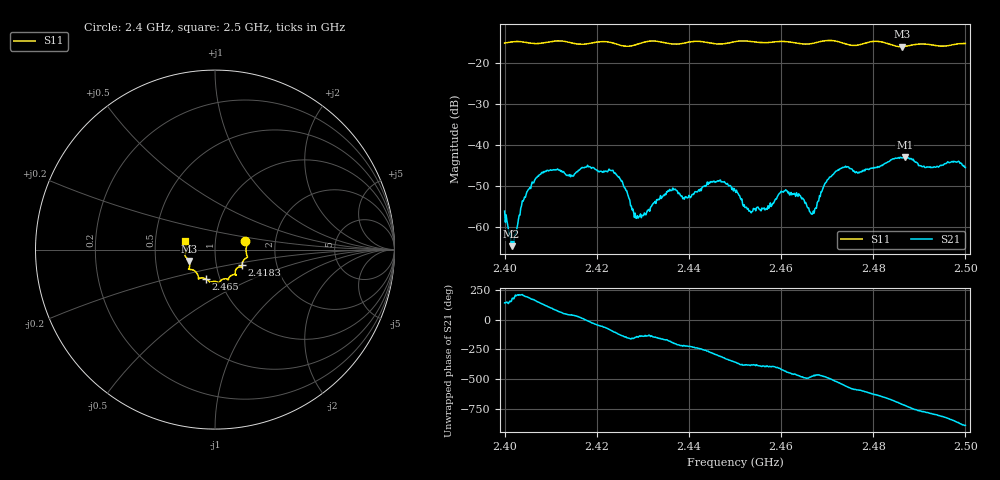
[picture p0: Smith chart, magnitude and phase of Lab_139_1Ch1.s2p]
# Hz S RI R 50
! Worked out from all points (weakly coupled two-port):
!   601 points, 2.4 GHz to 2.5 GHz, reference 50 ohm
!   highest |S21| = -42.90 dB at 2.4868 GHz (marker M1); lowest = -64.6 dB at 2.4015 GHz (marker M2)
!   lowest |S11| = -16.0 dB at 2.4862 GHz (marker M3), VSWR 1.38, Z = 37.1 - j4.83 ohm
!   |S11| at or under -10 dB: start of sweep to end of sweep
!   S12 and S22 are empty: the file has one direction only
!   S11 on the Smith chart (normalised r, x): 2.4 GHz: 1.40, +0.13; 2.4183 GHz: 1.33, -0.24; 2.465 GHz: 0.86, -0.29; 2.5 GHz: 0.71, +0.07
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2.4e9  0.169 0.0459  -0.0012 0.00101  0 0  0 0
2.4015e9  0.177 0.0381  -0.000535 0.000245  0 0  0 0
2.404333e9  0.178 0.0245  -0.00224 -0.000655  0 0  0 0
2.407167e9  0.1729 -0.00552  -0.00357 0.00219  0 0  0 0
2.416667e9  0.155 -0.0682  0.00513 0.00122  0 0  0 0
2.418333e9  0.1498 -0.0868  0.00528 -0.00148  0 0  0 0
2.4245e9  0.1383 -0.0962  -0.00199 -0.00371  0 0  0 0
2.428667e9  0.1125 -0.1256  -0.00101 -0.000793  0 0  0 0
2.433333e9  0.1168 -0.1413  -0.00203 -0.000854  0 0  0 0
2.44e9  0.0757 -0.1634  -0.00174 0.00172  0 0  0 0
2.446333e9  0.0498 -0.1632  0.00187 0.00318  0 0  0 0
2.45e9  0.0252 -0.1806  0.00282 0.00021  0 0  0 0
2.453333e9  0.0173 -0.1826  0.00143 -0.000635  0 0  0 0
2.457e9  -0.0101 -0.1774  0.00147 -0.000748  0 0  0 0
2.4605e9  -0.0294 -0.1812  0.00122 -0.00238  0 0  0 0
2.465e9  -0.0528 -0.162  -0.00127 -0.00174  0 0  0 0
2.466667e9  -0.0713 -0.1574  -0.000567 -0.00132  0 0  0 0
2.472167e9  -0.0917 -0.1592  -0.00461 -0.00162  0 0  0 0
2.483333e9  -0.1418 -0.0959  0.00338 0.00533  0 0  0 0
2.486167e9  -0.1446 -0.0635  0.00685 0.00152  0 0  0 0
2.486833e9  -0.1487 -0.0566  0.00715 0.000368  0 0  0 0
2.5e9  -0.1669 0.0471  -0.00517 -0.0014  0 0  0 0
